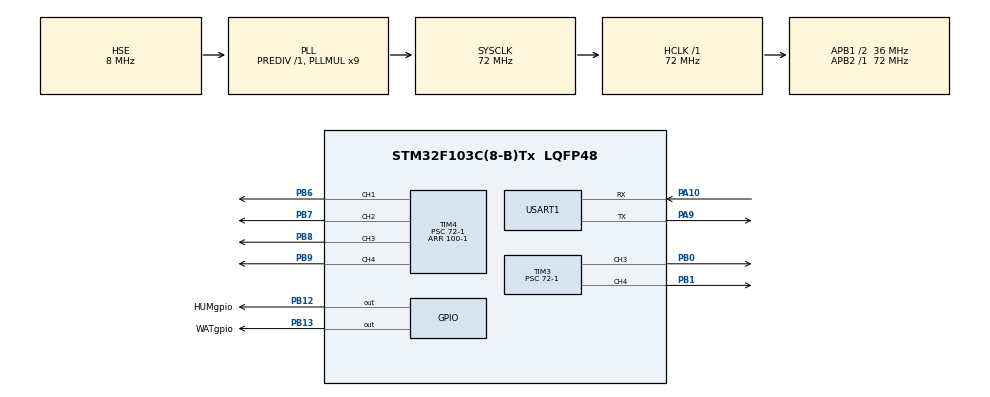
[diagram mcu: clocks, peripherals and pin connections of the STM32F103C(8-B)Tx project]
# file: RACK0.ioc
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Mcu.Family=STM32F1
Mcu.Name=STM32F103C(8-B)Tx
Mcu.Package=LQFP48
NVIC.PriorityGroup=NVIC_PRIORITYGROUP_4
NVIC.USART1_IRQn=true\:0\:0\:false\:false\:true\:true\:true\:true
PA10.Mode=Asynchronous
PA10.Signal=USART1_RX
PA13.Mode=Serial_Wire
PA13.Signal=SYS_JTMS-SWDIO
PA14.Mode=Serial_Wire
PA14.Signal=SYS_JTCK-SWCLK
PA9.Mode=Asynchronous
PA9.Signal=USART1_TX
PB0.Signal=S_TIM3_CH3
PB1.Signal=S_TIM3_CH4
PB12.GPIO_Label=HUMgpio
PB12.Signal=GPIO_Output
PB13.GPIO_Label=WATgpio
PB13.Signal=GPIO_Output
PB6.Signal=S_TIM4_CH1
PB7.Signal=S_TIM4_CH2
PB8.Signal=S_TIM4_CH3
PB9.Signal=S_TIM4_CH4
PC14-OSC32_IN.Mode=LSE-External-Oscillator
PC14-OSC32_IN.Signal=RCC_OSC32_IN
PC15-OSC32_OUT.Mode=LSE-External-Oscillator
PC15-OSC32_OUT.Signal=RCC_OSC32_OUT
PD0-OSC_IN.Mode=HSE-External-Oscillator
PD0-OSC_IN.Signal=RCC_OSC_IN
PD1-OSC_OUT.Mode=HSE-External-Oscillator
PD1-OSC_OUT.Signal=RCC_OSC_OUT
ProjectManager.HeapSize=0x200
ProjectManager.StackSize=0x400
ProjectManager.TargetToolchain=STM32CubeIDE
RCC.AHBFreq_Value=72000000
RCC.APB1CLKDivider=RCC_HCLK_DIV2
RCC.APB1Freq_Value=36000000
RCC.APB1TimFreq_Value=72000000
RCC.APB2Freq_Value=72000000
RCC.APB2TimFreq_Value=72000000
RCC.HCLKFreq_Value=72000000
RCC.PLLMUL=RCC_PLL_MUL9
RCC.PLLSourceVirtual=RCC_PLLSOURCE_HSE
RCC.SYSCLKFreq_VALUE=72000000
RCC.SYSCLKSource=RCC_SYSCLKSOURCE_PLLCLK
RCC.USBFreq_Value=72000000
SH.S_TIM3_CH3.0=TIM3_CH3,PWM Generation3 CH3
SH.S_TIM3_CH4.0=TIM3_CH4,PWM Generation4 CH4
SH.S_TIM4_CH1.0=TIM4_CH1,PWM Generation1 CH1
SH.S_TIM4_CH2.0=TIM4_CH2,PWM Generation2 CH2
SH.S_TIM4_CH3.0=TIM4_CH3,PWM Generation3 CH3
SH.S_TIM4_CH4.0=TIM4_CH4,PWM Generation4 CH4
TIM2.Prescaler=72-1
TIM3.Channel-PWM\ Generation3\ CH3=TIM_CHANNEL_3
TIM3.Channel-PWM\ Generation4\ CH4=TIM_CHANNEL_4
TIM3.OCPolarity_3=TIM_OCPOLARITY_LOW
TIM3.OCPolarity_4=TIM_OCPOLARITY_LOW
TIM3.Period=100-1
TIM3.Prescaler=72-1
TIM4.Channel-PWM\ Generation1\ CH1=TIM_CHANNEL_1
TIM4.Channel-PWM\ Generation2\ CH2=TIM_CHANNEL_2
TIM4.Channel-PWM\ Generation3\ CH3=TIM_CHANNEL_3
TIM4.Channel-PWM\ Generation4\ CH4=TIM_CHANNEL_4
TIM4.OCPolarity_1=TIM_OCPOLARITY_LOW
TIM4.OCPolarity_2=TIM_OCPOLARITY_LOW
TIM4.OCPolarity_3=TIM_OCPOLARITY_LOW
TIM4.OCPolarity_4=TIM_OCPOLARITY_LOW
TIM4.Period=100-1
TIM4.Prescaler=72-1
USART1.VirtualMode=VM_ASYNC
VP_RTC_VS_RTC_Activate.Mode=RTC_Enabled
VP_RTC_VS_RTC_Calendar.Mode=RTC_Calendar
VP_TIM2_VS_ClockSourceINT.Mode=Internal
VP_TIM3_VS_ClockSourceINT.Mode=Internal
VP_TIM4_VS_ClockSourceINT.Mode=Internal
board=custom

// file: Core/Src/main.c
/* USER CODE BEGIN Header */
/**
  ******************************************************************************
  * @file           : main.c
  * @brief          : Main program body
  * @author			: Adrián Silva Palafox
  * @company		: Fourier Embeds | Libre cultivo
  ******************************************************************************
  * @attention
  *
  * Copyright (c) 2024 STMicroelectronics.
  * All rights reserved.
  *
  * This software is licensed under terms that can be found in the LICENSE file
  * in the root directory of this software component.
  * If no LICENSE file comes with this software, it is provided AS-IS.
  *
  ******************************************************************************
  */
/* USER CODE END Header */
#include "main.h"

/* USER CODE BEGIN Includes */
//C NATIVE LIBRARIES

//UTILS LIBRARIES
#include "rack0_actuator.h"
#include "utils.h"

/* USER CODE END Includes */

RTC_HandleTypeDef hrtc;

TIM_HandleTypeDef htim2;
TIM_HandleTypeDef htim3;
TIM_HandleTypeDef htim4;

UART_HandleTypeDef huart1;

/* USER CODE BEGIN PV */
// UART parsing variables

/*
 * ID*NUM
 * ab*abc\r\n
 * data format comming
 */
#define dataFomatL 8
uint8_t Final_Data[dataFomatL] = {0};
uint8_t RxData[dataFomatL] = {0};
uint8_t temp[2]; // [dataBYE][null chcaracter]
int indx = 0;
char *posAstk = NULL;
char *posCarrun = NULL;
int ID = 0;
int VAL = 0;

/* USER CODE END PV */

void SystemClock_Config(void);
static void MX_GPIO_Init(void);
static void MX_TIM3_Init(void);
static void MX_TIM4_Init(void);
static void MX_USART1_UART_Init(void);
static void MX_RTC_Init(void);
static void MX_TIM2_Init(void);

int main(void)
{

  /* MCU Configuration--------------------------------------------------------*/

  /* Reset of all peripherals, Initializes the Flash interface and the Systick. */
  HAL_Init();

  /* Configure the system clock */
  SystemClock_Config();

  /* Initialize all configured peripherals */
  MX_GPIO_Init();
  MX_TIM3_Init();
  MX_TIM4_Init();
  MX_USART1_UART_Init();
  MX_RTC_Init();
  MX_TIM2_Init();
  /* USER CODE BEGIN 2 */
  /********************
   * INITILIZE ACTUATOR
   ********************/
  TIM3->CCR3 = 0;
  TIM3->CCR4 = 0;
  TIM4->CCR1 = 0;
  TIM4->CCR2 = 0;
  TIM4->CCR3 = 0;
  TIM4->CCR4 = 0;
  HAL_TIM_PWM_Start(&htim3, TIM_CHANNEL_3);
  HAL_TIM_PWM_Start(&htim3, TIM_CHANNEL_4);
  HAL_TIM_PWM_Start(&htim4, TIM_CHANNEL_1);
  HAL_TIM_PWM_Start(&htim4, TIM_CHANNEL_2);
  HAL_TIM_PWM_Start(&htim4, TIM_CHANNEL_3);
  HAL_TIM_PWM_Start(&htim4, TIM_CHANNEL_4);

  /** Communications */
  HAL_UART_Receive_IT(&huart1, temp, 1);

  /* USER CODE END 2 */

  /* Infinite loop */
  while (1)
  {

    /* USER CODE BEGIN 3 */
	if (temp[0] == '\n')
	{
		// Copy received data into Final_Data and reset the index
		memcpy(Final_Data, RxData, indx);
		indx = 0;

		// Locate the delimiters '*' and '\r' in the data
		posAstk = strchr((char*)Final_Data, '*');  // Position of '*'
		posCarrun = strchr((char*)Final_Data, '\r'); // Position of '\r'

		// Validate the data format
		if (posAstk && posCarrun && posCarrun > posAstk)
		{
			// Replace '*' and '\r' with null terminators to split the string
			*posAstk = '\0'; // Terminate the ID string at '*'
			*posCarrun = '\0'; // Terminate the VALUE string at '\r'

			// Convert the ID and VALUE substrings to integers
			ID = atoi((char*)Final_Data);          // ID is before '*'
			VAL = atoi(posAstk + 1);        // VALUE is after '*'

			// Ensure the ID and VALUE are within valid ranges
			if (ID >= 0 && ID <= 99 && VAL >= 0 && VAL <= 100)
			{
				// Update the actuator states using the extracted ID and VALUE
				actuatorMotorsHandler(ID, VAL);
			}
		}
	}
  }
  /* USER CODE END 3 */
}

void SystemClock_Config(void)
{
  RCC_OscInitTypeDef RCC_OscInitStruct = {0};
  RCC_ClkInitTypeDef RCC_ClkInitStruct = {0};
  RCC_PeriphCLKInitTypeDef PeriphClkInit = {0};

  /** Initializes the RCC Oscillators according to the specified parameters
  * in the RCC_OscInitTypeDef structure.
  */
  RCC_OscInitStruct.OscillatorType = RCC_OSCILLATORTYPE_LSI|RCC_OSCILLATORTYPE_HSE;
  RCC_OscInitStruct.HSEState = RCC_HSE_ON;
  RCC_OscInitStruct.HSEPredivValue = RCC_HSE_PREDIV_DIV1;
  RCC_OscInitStruct.HSIState = RCC_HSI_ON;
  RCC_OscInitStruct.LSIState = RCC_LSI_ON;
  RCC_OscInitStruct.PLL.PLLState = RCC_PLL_ON;
  RCC_OscInitStruct.PLL.PLLSource = RCC_PLLSOURCE_HSE;
  RCC_OscInitStruct.PLL.PLLMUL = RCC_PLL_MUL9;
  if (HAL_RCC_OscConfig(&RCC_OscInitStruct) != HAL_OK)
  {
    Error_Handler();
  }

  /** Initializes the CPU, AHB and APB buses clocks
  */
  RCC_ClkInitStruct.ClockType = RCC_CLOCKTYPE_HCLK|RCC_CLOCKTYPE_SYSCLK
                              |RCC_CLOCKTYPE_PCLK1|RCC_CLOCKTYPE_PCLK2;
  RCC_ClkInitStruct.SYSCLKSource = RCC_SYSCLKSOURCE_PLLCLK;
  RCC_ClkInitStruct.AHBCLKDivider = RCC_SYSCLK_DIV1;
  RCC_ClkInitStruct.APB1CLKDivider = RCC_HCLK_DIV2;
  RCC_ClkInitStruct.APB2CLKDivider = RCC_HCLK_DIV1;

  if (HAL_RCC_ClockConfig(&RCC_ClkInitStruct, FLASH_LATENCY_2) != HAL_OK)
  {
    Error_Handler();
  }
  PeriphClkInit.PeriphClockSelection = RCC_PERIPHCLK_RTC;
  PeriphClkInit.RTCClockSelection = RCC_RTCCLKSOURCE_LSI;
  if (HAL_RCCEx_PeriphCLKConfig(&PeriphClkInit) != HAL_OK)
  {
    Error_Handler();
  }
}

static void MX_RTC_Init(void)
{

  RTC_TimeTypeDef sTime = {0};
  RTC_DateTypeDef DateToUpdate = {0};

  /** Initialize RTC Only
  */
  hrtc.Instance = RTC;
  hrtc.Init.AsynchPrediv = RTC_AUTO_1_SECOND;
  hrtc.Init.OutPut = RTC_OUTPUTSOURCE_ALARM;
  if (HAL_RTC_Init(&hrtc) != HAL_OK)
  {
    Error_Handler();
  }

  /** Initialize RTC and set the Time and Date
  */
  sTime.Hours = 0x0;
  sTime.Minutes = 0x0;
  sTime.Seconds = 0x0;

  if (HAL_RTC_SetTime(&hrtc, &sTime, RTC_FORMAT_BCD) != HAL_OK)
  {
    Error_Handler();
  }
  DateToUpdate.WeekDay = RTC_WEEKDAY_MONDAY;
  DateToUpdate.Month = RTC_MONTH_JANUARY;
  DateToUpdate.Date = 0x1;
  DateToUpdate.Year = 0x0;

  if (HAL_RTC_SetDate(&hrtc, &DateToUpdate, RTC_FORMAT_BCD) != HAL_OK)
  {
    Error_Handler();
  }

}

static void MX_TIM2_Init(void)
{

  TIM_ClockConfigTypeDef sClockSourceConfig = {0};
  TIM_MasterConfigTypeDef sMasterConfig = {0};

  htim2.Instance = TIM2;
  htim2.Init.Prescaler = 72-1;
  htim2.Init.CounterMode = TIM_COUNTERMODE_UP;
  htim2.Init.Period = 65535;
  htim2.Init.ClockDivision = TIM_CLOCKDIVISION_DIV1;
  htim2.Init.AutoReloadPreload = TIM_AUTORELOAD_PRELOAD_DISABLE;
  if (HAL_TIM_Base_Init(&htim2) != HAL_OK)
  {
    Error_Handler();
  }
  sClockSourceConfig.ClockSource = TIM_CLOCKSOURCE_INTERNAL;
  if (HAL_TIM_ConfigClockSource(&htim2, &sClockSourceConfig) != HAL_OK)
  {
    Error_Handler();
  }
  sMasterConfig.MasterOutputTrigger = TIM_TRGO_RESET;
  sMasterConfig.MasterSlaveMode = TIM_MASTERSLAVEMODE_DISABLE;
  if (HAL_TIMEx_MasterConfigSynchronization(&htim2, &sMasterConfig) != HAL_OK)
  {
    Error_Handler();
  }

}

static void MX_TIM3_Init(void)
{

  TIM_ClockConfigTypeDef sClockSourceConfig = {0};
  TIM_MasterConfigTypeDef sMasterConfig = {0};
  TIM_OC_InitTypeDef sConfigOC = {0};

  htim3.Instance = TIM3;
  htim3.Init.Prescaler = 72-1;
  htim3.Init.CounterMode = TIM_COUNTERMODE_UP;
  htim3.Init.Period = 100-1;
  htim3.Init.ClockDivision = TIM_CLOCKDIVISION_DIV1;
  htim3.Init.AutoReloadPreload = TIM_AUTORELOAD_PRELOAD_DISABLE;
  if (HAL_TIM_Base_Init(&htim3) != HAL_OK)
  {
    Error_Handler();
  }
  sClockSourceConfig.ClockSource = TIM_CLOCKSOURCE_INTERNAL;
  if (HAL_TIM_ConfigClockSource(&htim3, &sClockSourceConfig) != HAL_OK)
  {
    Error_Handler();
  }
  if (HAL_TIM_PWM_Init(&htim3) != HAL_OK)
  {
    Error_Handler();
  }
  sMasterConfig.MasterOutputTrigger = TIM_TRGO_RESET;
  sMasterConfig.MasterSlaveMode = TIM_MASTERSLAVEMODE_DISABLE;
  if (HAL_TIMEx_MasterConfigSynchronization(&htim3, &sMasterConfig) != HAL_OK)
  {
    Error_Handler();
  }
  sConfigOC.OCMode = TIM_OCMODE_PWM1;
  sConfigOC.Pulse = 0;
  sConfigOC.OCPolarity = TIM_OCPOLARITY_LOW;
  sConfigOC.OCFastMode = TIM_OCFAST_DISABLE;
  if (HAL_TIM_PWM_ConfigChannel(&htim3, &sConfigOC, TIM_CHANNEL_3) != HAL_OK)
  {
    Error_Handler();
  }
  if (HAL_TIM_PWM_ConfigChannel(&htim3, &sConfigOC, TIM_CHANNEL_4) != HAL_OK)
  {
    Error_Handler();
  }
  HAL_TIM_MspPostInit(&htim3);

}

static void MX_TIM4_Init(void)
{

  TIM_ClockConfigTypeDef sClockSourceConfig = {0};
  TIM_MasterConfigTypeDef sMasterConfig = {0};
  TIM_OC_InitTypeDef sConfigOC = {0};

  htim4.Instance = TIM4;
  htim4.Init.Prescaler = 72-1;
  htim4.Init.CounterMode = TIM_COUNTERMODE_UP;
  htim4.Init.Period = 100-1;
  htim4.Init.ClockDivision = TIM_CLOCKDIVISION_DIV1;
  htim4.Init.AutoReloadPreload = TIM_AUTORELOAD_PRELOAD_DISABLE;
  if (HAL_TIM_Base_Init(&htim4) != HAL_OK)
  {
    Error_Handler();
  }
  sClockSourceConfig.ClockSource = TIM_CLOCKSOURCE_INTERNAL;
  if (HAL_TIM_ConfigClockSource(&htim4, &sClockSourceConfig) != HAL_OK)
  {
    Error_Handler();
  }
  if (HAL_TIM_PWM_Init(&htim4) != HAL_OK)
  {
    Error_Handler();
  }
  sMasterConfig.MasterOutputTrigger = TIM_TRGO_RESET;
  sMasterConfig.MasterSlaveMode = TIM_MASTERSLAVEMODE_DISABLE;
  if (HAL_TIMEx_MasterConfigSynchronization(&htim4, &sMasterConfig) != HAL_OK)
  {
    Error_Handler();
  }
  sConfigOC.OCMode = TIM_OCMODE_PWM1;
  sConfigOC.Pulse = 0;
  sConfigOC.OCPolarity = TIM_OCPOLARITY_LOW;
  sConfigOC.OCFastMode = TIM_OCFAST_DISABLE;
  if (HAL_TIM_PWM_ConfigChannel(&htim4, &sConfigOC, TIM_CHANNEL_1) != HAL_OK)
  {
    Error_Handler();
  }
  if (HAL_TIM_PWM_ConfigChannel(&htim4, &sConfigOC, TIM_CHANNEL_2) != HAL_OK)
  {
    Error_Handler();
  }
  if (HAL_TIM_PWM_ConfigChannel(&htim4, &sConfigOC, TIM_CHANNEL_3) != HAL_OK)
  {
    Error_Handler();
  }
  if (HAL_TIM_PWM_ConfigChannel(&htim4, &sConfigOC, TIM_CHANNEL_4) != HAL_OK)
  {
    Error_Handler();
  }
  HAL_TIM_MspPostInit(&htim4);

}

static void MX_USART1_UART_Init(void)
{

  huart1.Instance = USART1;
  huart1.Init.BaudRate = 115200;
  huart1.Init.WordLength = UART_WORDLENGTH_8B;
  huart1.Init.StopBits = UART_STOPBITS_1;
  huart1.Init.Parity = UART_PARITY_NONE;
  huart1.Init.Mode = UART_MODE_TX_RX;
  huart1.Init.HwFlowCtl = UART_HWCONTROL_NONE;
  huart1.Init.OverSampling = UART_OVERSAMPLING_16;
  if (HAL_UART_Init(&huart1) != HAL_OK)
  {
    Error_Handler();
  }

}

static void MX_GPIO_Init(void)
{
  GPIO_InitTypeDef GPIO_InitStruct = {0};

  /* GPIO Ports Clock Enable */
  __HAL_RCC_GPIOC_CLK_ENABLE();
  __HAL_RCC_GPIOD_CLK_ENABLE();
  __HAL_RCC_GPIOB_CLK_ENABLE();
  __HAL_RCC_GPIOA_CLK_ENABLE();

  /*Configure GPIO pin Output Level */
  HAL_GPIO_WritePin(GPIOB, HUMgpio_Pin|WATgpio_Pin, GPIO_PIN_RESET);

  /*Configure GPIO pins : HUMgpio_Pin WATgpio_Pin */
  GPIO_InitStruct.Pin = HUMgpio_Pin|WATgpio_Pin;
  GPIO_InitStruct.Mode = GPIO_MODE_OUTPUT_PP;
  GPIO_InitStruct.Pull = GPIO_NOPULL;
  GPIO_InitStruct.Speed = GPIO_SPEED_FREQ_LOW;
  HAL_GPIO_Init(GPIOB, &GPIO_InitStruct);

}

/* USER CODE BEGIN 4 */
void HAL_UART_RxCpltCallback(UART_HandleTypeDef *huart)
{
	memcpy(RxData+indx,temp,1);
	if (++indx >= dataFomatL) indx = 0;

	HAL_UART_Receive_IT(&huart1,temp,1); //start next data receive interrupt
}
/* USER CODE END 4 */

void Error_Handler(void)
{
  __disable_irq();
  while (1)
  {
  }
}
